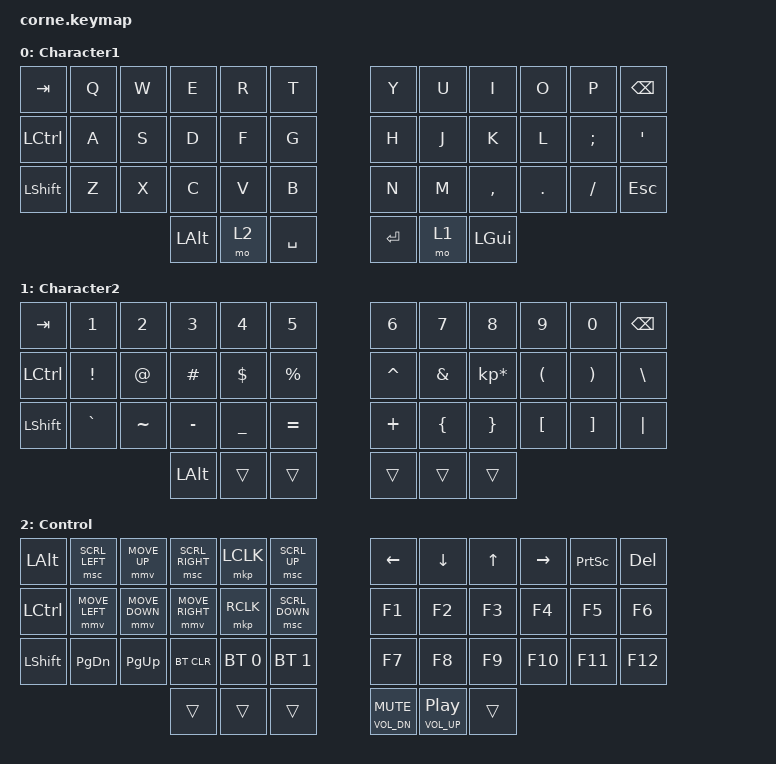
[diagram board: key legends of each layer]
/*
 * Copyright (c) 2020 The ZMK Contributors
 * Modifications Copyright (c) 2024 danieiff
 *
 * SPDX-License-Identifier: MIT
 */

#include <behaviors.dtsi>
#include <dt-bindings/zmk/keys.h>
#include <dt-bindings/zmk/bt.h>
#include <behaviors/mouse_keys.dtsi>
#include <dt-bindings/zmk/mouse.h>

/ {
    behaviors {
        ht: hold_tap {
            compatible = "zmk,behavior-hold-tap";
            #binding-cells = <2>;
            flavor = "tap-preferred";
            tapping-term-ms = <400>;
            quick-tap-ms = <200>;
            bindings = <&kp>, <&kp>;
        };
    };
    keymap {
        compatible = "zmk,keymap";
        default_layer {
            display-name = "Character1";
            bindings = <
                /*┌────────┬────────┬────────┬────────┬────────┬────────┐ ┌────────┬────────┬────────┬────────┬────────┬────────┐*/
                &kp TAB  &kp Q    &kp W    &kp E    &kp R    &kp T      &kp Y    &kp U    &kp I    &kp O    &kp P    &kp BSPC
                /*├────────┼────────┼────────┼────────┼────────┼────────┤ ├────────┼────────┼────────┼────────┼────────┼────────┤*/
                &kp LCTRL &kp A   &kp S    &kp D    &kp F    &kp G      &kp H    &kp J    &kp K    &kp L    &kp SEMI &kp SQT
                /*├────────┼────────┼────────┼────────┼────────┼────────┤ ├────────┼────────┼────────┼────────┼────────┼────────┤*/
                &kp LSHFT &kp Z   &kp X    &kp C    &kp V    &kp B      &kp N    &kp M    &kp COMMA &kp DOT &kp FSLH &kp ESC
                /*└────────┴────────┴────────┼────────┼────────┼────────┤ ├────────┼────────┼────────┼────────┴────────┴────────┘*/
                /*                      */ &kp LALT &mo 2    &kp SPACE  &kp RET  &mo 1    &kp LGUI
                /*                           └────────┴────────┴────────┘ └────────┴────────┴────────┘                           */
            >;
        };
        lower_layer {
            display-name = "Character2";
            bindings = <
                /*┌────────┬────────┬────────┬────────┬────────┬────────┐ ┌────────┬────────┬────────┬────────┬────────┬────────┐*/
                &kp TAB  &kp N1 &kp N2 &kp N3   &kp N4   &kp N5     &kp N6   &kp N7   &kp N8   &kp N9   &kp N0   &kp BSPC
                /*├────────┼────────┼────────┼────────┼────────┼────────┤ ├────────┼────────┼────────┼────────┼────────┼────────┤*/
                &kp LCTRL &kp EXCL &kp AT  &kp HASH &kp DLLR &kp PRCNT  &kp CARET &kp AMPS &kp KP_MULTIPLY &kp LPAR &kp RPAR &kp BSLH
                /*├────────┼────────┼────────┼────────┼────────┼────────┤ ├────────┼────────┼────────┼────────┼────────┼────────┤*/
                &kp LSHFT &kp GRAVE &kp TILDE &kp MINUS &kp UNDER &kp EQUAL &kp PLUS &kp LBRC &kp RBRC &kp LBKT &kp RBKT &kp PIPE
                /*└────────┴────────┴────────┼────────┼────────┼────────┤ ├────────┼────────┼────────┼────────┴────────┴────────┘*/
                /*                      */ &kp LALT     &trans   &trans     &trans   &trans   &trans
                /*                           └────────┴────────┴────────┘ └────────┴────────┴────────┘                           */
            >;
        };
        raise_layer {
            display-name = "Control";
            bindings = <
                /*┌────────┬────────┬────────┬────────┬────────┬────────┐ ┌────────┬────────┬────────┬────────┬────────┬────────┐*/
                &kp LALT &msc SCRL_LEFT &mmv MOVE_UP &msc SCRL_RIGHT &mkp LCLK &msc SCRL_UP /**/ &kp LEFT &kp DOWN  &kp UP &kp RIGHT &kp PSCRN &kp DEL
                /*├────────┼────────┼────────┼────────┼────────┼────────┤ ├────────┼────────┼────────┼────────┼────────┼────────┤*/
                &kp LCTRL &mmv MOVE_LEFT &mmv MOVE_DOWN &mmv MOVE_RIGHT &mkp RCLK &msc SCRL_DOWN /**/ &kp F1 &kp F2 &kp F3 &kp F4 &kp F5 &kp F6
                /*├────────┼────────┼────────┼────────┼────────┼────────┤ ├────────┼────────┼────────┼────────┼────────┼────────┤*/
                &kp LSHFT &kp PG_DN &kp PG_UP &bt BT_CLR &bt BT_SEL 0 &bt BT_SEL 1 /**/ &kp F7 &kp F8  &kp F9   &kp F10  &kp F11  &kp F12
                /*└────────┴────────┴────────┼────────┼────────┼────────┤ ├────────┼────────┼────────┼────────┴────────┴────────┘*/
                /*                          */ &trans   &trans   &trans   &ht C_VOL_DN C_MUTE &ht C_VOL_UP C_PP &trans
                /*                           └────────┴────────┴────────┘ └────────┴────────┴────────┘                           */
            >;
        };
    };
};
